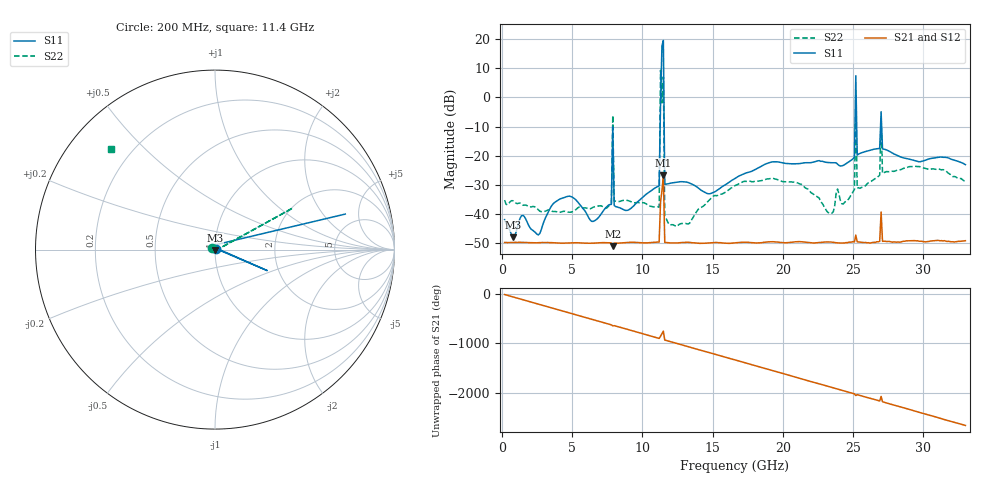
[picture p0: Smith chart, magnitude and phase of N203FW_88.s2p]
# GHZ S RI R 50
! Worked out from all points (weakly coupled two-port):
!   329 points, 200 MHz to 33 GHz, reference 50 ohm
!   highest |S21| = -26.81 dB at 11.5 GHz (marker M1); lowest = -51.2 dB at 7.9 GHz (marker M2)
!   lowest |S11| = -48.2 dB at 800 MHz (marker M3), VSWR 1.01, Z = 50 - j0.388 ohm
!   |S11| at or under -10 dB: start of sweep to 11.27 GHz; 11.56 GHz to 25.14 GHz (13.58 GHz wide, 74 % of centre); 27.04 GHz to end of sweep (the widest 3 of 4)
!   |S22| runs from -44.3 to 9.4 dB; largest |S21 - S12| = 0.01
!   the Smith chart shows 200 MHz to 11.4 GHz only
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0.2  0.00558 0.00557  0.00305 -0.000895  0.00306 -0.000888  -0.0144 0.00922
0.8  -0.000321 -0.00388  0.00139 -0.00287  0.00138 -0.00287  -0.0131 0.0102
5.7  0.00602 0.0114  -0.000438 -0.00309  -0.000455 -0.00309  0.00635 -0.0109
7.8  -0.009 0.0113  -0.000206 0.00311  -0.000214 0.00312  -0.0083 -0.0124
7.9  0.291 -0.1171  0.000846 0.00261  0.000833 0.00252  0.4324 0.2312
8  -0.00463 0.013  0.000655 0.00303  0.000655 0.00304  -0.0109 -0.0124
11.2  0.00959 0.0284  -0.00322 -5.53e-05  -0.00323 -6.03e-05  -0.0109 0.00694
11.3  0.7258 0.1979  -0.0112 -0.0114  -0.0114 -0.00848  0.4109 2.929
11.4  4.183 6.557  0.00304 -0.0244  0.0021 -0.0235  -0.5769 0.5602
11.5  9.097 -3.075  0.0381 -0.0252  0.0375 -0.0257  -0.2252 -2.257
11.6  0.0282 0.0148  -0.00271 0.0017  -0.00271 0.0017  -0.007 0.00585
16.6  -0.0334 0.0225  -0.00105 0.00295  -0.00104 0.00295  -0.0299 0.00522
22.1  -0.0298 -0.0702  0.00282 0.00135  0.00283 0.00135  0.0192 0.0112
23.5  0.00631 0.0749  0.000155 -0.00322  0.000143 -0.00323  0.0096 -0.00327
25.1  -0.0401 -0.0838  -0.00269 0.00182  -0.00272 0.00183  -0.0245 -0.00879
25.2  2.272 0.6708  -0.00158 0.00395  -0.00139 0.00397  0.2849 0.5351
25.3  -0.0758 -0.0678  -0.00209 0.00251  -0.00207 0.0025  -0.0272 -0.0037
26.9  0.063 0.1162  0.00332 0.000192  0.00328 0.000161  -0.0411 0.0205
27  0.4116 -0.3929  -0.000718 0.0106  -0.000747 0.00019  -0.2151 0.3536
27.1  0.1001 0.0842  0.00324 -0.000779  0.00323 -0.0008  -0.0413 0.0268
27.6  0.1145 -0.0287  0.00184 -0.00275  0.00189 -0.00271  -0.0364 0.0384
33  0.017 0.0676  -0.0022 -0.00261  -0.0022 -0.00259  0.034 0.0121
